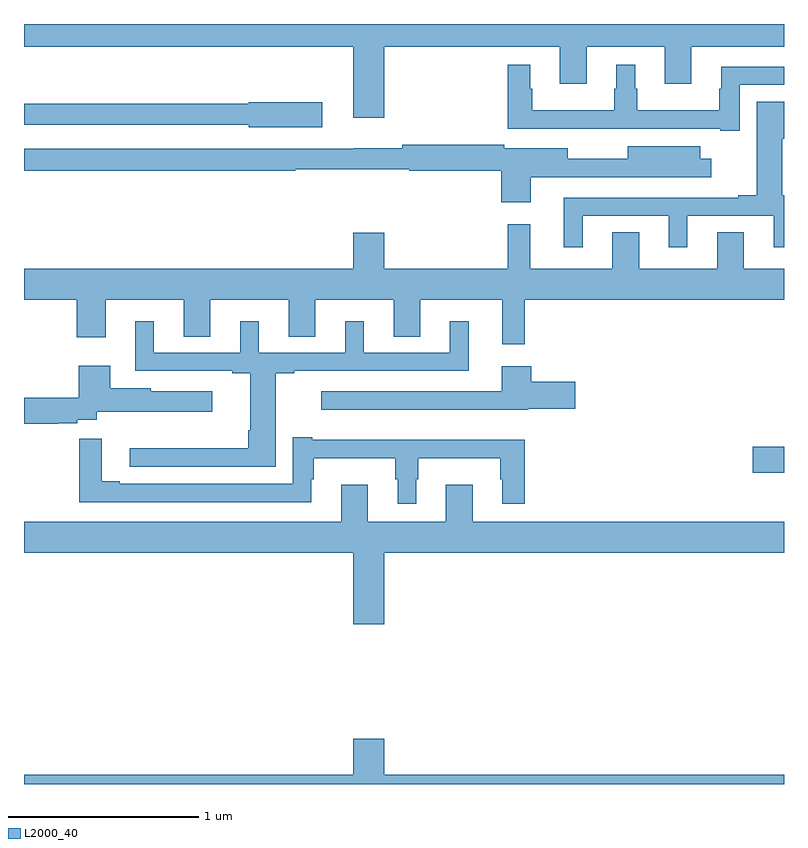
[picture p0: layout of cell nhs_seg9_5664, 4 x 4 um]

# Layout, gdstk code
import gdstk
lib = gdstk.Library(unit=1e-6, precision=1e-09)
def R(c, l, rs):  # rectangles x0, y0, x1, y1
    for r in rs: c.add(gdstk.rectangle(r[:2], r[2:], *l))
def P(c, l, *ps):  # polygons
    for p in ps: c.add(gdstk.Polygon(p, *l))
L2000_40 = (2000, 40)

nhs_seg9_5664 = lib.new_cell('nhs_seg9_5664')
R(nhs_seg9_5664, L2000_40, [(442.836,1234.139,443,1234.274)])
P(nhs_seg9_5664, L2000_40, [(439,1236.38),(440.732,1236.38),(440.732,1236.006),(440.896,1236.006),(440.896,1236.38),(441.821,1236.38),(441.821,1236.186),(441.961,1236.186),(441.961,1236.38),(442.373,1236.38),(442.373,1236.186),(442.513,1236.186),(442.513,1236.38),(443,1236.38),(443,1236.5),(439,1236.5)],
  [(442.767,1236.18),(443,1236.18),(443,1236.276),(442.67,1236.276),(442.67,1236.158),(442.659,1236.158),(442.659,1236.046),(442.228,1236.046),(442.228,1236.158),(442.216,1236.158),(442.216,1236.286),(442.118,1236.286),(442.118,1236.158),(442.107,1236.158),(442.107,1236.046),(441.676,1236.046),(441.676,1236.158),(441.664,1236.158),(441.664,1236.286),(441.547,1236.286),(441.547,1235.949),(442.664,1235.949),(442.664,1235.937),(442.767,1235.937)],
  [(441.94,1235.49),(442.394,1235.49),(442.394,1235.325),(442.492,1235.325),(442.492,1235.49),(442.946,1235.49),(442.946,1235.325),(443,1235.325),(443,1235.599),(442.99,1235.599),(442.99,1235.897),(443,1235.897),(443,1236.09),(442.856,1236.09),(442.856,1235.599),(442.76,1235.599),(442.76,1235.586),(441.842,1235.586),(441.842,1235.325),(441.94,1235.325)],
  [(440.569,1236.087),(440.184,1236.087),(440.184,1236.079),(439,1236.079),(439,1235.97),(440.184,1235.97),(440.184,1235.957),(440.569,1235.957)],
  [(441.667,1235.694),(442.282,1235.694),(442.282,1235.693),(442.618,1235.693),(442.618,1235.791),(442.558,1235.791),(442.558,1235.857),(442.178,1235.857),(442.178,1235.791),(441.862,1235.791),(441.862,1235.845),(441.528,1235.845),(441.528,1235.864),(440.992,1235.864),(440.992,1235.845),(440.736,1235.845),(440.736,1235.844),(439,1235.844),(439,1235.728),(440.428,1235.728),(440.428,1235.736),(441.028,1235.736),(441.028,1235.728),(441.512,1235.728),(441.512,1235.562),(441.667,1235.562)],
  [(441.547,1235.212),(440.896,1235.212),(440.896,1235.401),(440.732,1235.401),(440.732,1235.212),(439,1235.212),(439,1235.048),(439.277,1235.048),(439.277,1234.851),(439.429,1234.851),(439.429,1235.048),(439.841,1235.048),(439.841,1234.855),(439.981,1234.855),(439.981,1235.048),(440.393,1235.048),(440.393,1234.855),(440.533,1234.855),(440.533,1235.048),(440.945,1235.048),(440.945,1234.855),(441.085,1234.855),(441.085,1235.048),(441.518,1235.048),(441.518,1234.815),(441.635,1234.815),(441.635,1235.048),(443,1235.048),(443,1235.212),(442.789,1235.212),(442.789,1235.405),(442.649,1235.405),(442.649,1235.212),(442.237,1235.212),(442.237,1235.405),(442.097,1235.405),(442.097,1235.212),(441.665,1235.212),(441.665,1235.446),(441.547,1235.446)],
  [(440.326,1234.662),(440.422,1234.662),(440.422,1234.674),(441.341,1234.674),(441.341,1234.936),(441.242,1234.936),(441.242,1234.77),(440.788,1234.77),(440.788,1234.936),(440.69,1234.936),(440.69,1234.77),(440.236,1234.77),(440.236,1234.936),(440.138,1234.936),(440.138,1234.77),(439.684,1234.77),(439.684,1234.936),(439.586,1234.936),(439.586,1234.674),(440.096,1234.674),(440.096,1234.662),(440.192,1234.662),(440.192,1234.363),(440.18,1234.363),(440.18,1234.268),(439.557,1234.268),(439.557,1234.17),(440.326,1234.17)],
  [(439.18,1234.398),(439.28,1234.398),(439.28,1234.416),(439.383,1234.416),(439.383,1234.46),(439.99,1234.46),(439.99,1234.567),(439.668,1234.567),(439.668,1234.582),(439.453,1234.582),(439.453,1234.702),(439.287,1234.702),(439.287,1234.532),(439,1234.532),(439,1234.396),(439.18,1234.396)],
  [(441.654,1234.475),(441.901,1234.475),(441.901,1234.617),(441.671,1234.617),(441.671,1234.699),(441.515,1234.699),(441.515,1234.566),(440.565,1234.566),(440.565,1234.469),(441.654,1234.469)],
  [(441.064,1234.103),(441.076,1234.103),(441.076,1234.214),(441.507,1234.214),(441.507,1234.103),(441.518,1234.103),(441.518,1233.975),(441.635,1233.975),(441.635,1234.312),(440.518,1234.312),(440.518,1234.324),(440.415,1234.324),(440.415,1234.08),(439.504,1234.08),(439.504,1234.093),(439.408,1234.093),(439.408,1234.318),(439.292,1234.318),(439.292,1234.205),(439.291,1234.205),(439.291,1233.984),(440.512,1233.984),(440.512,1234.103),(440.524,1234.103),(440.524,1234.214),(440.955,1234.214),(440.955,1234.103),(440.966,1234.103),(440.966,1233.975),(441.064,1233.975)],
  [(440.896,1233.716),(443,1233.716),(443,1233.88),(441.361,1233.88),(441.361,1234.075),(441.221,1234.075),(441.221,1233.88),(440.809,1233.88),(440.809,1234.075),(440.669,1234.075),(440.669,1233.88),(439,1233.88),(439,1233.716),(440.732,1233.716),(440.732,1233.342),(440.896,1233.342)],
  [(443,1232.548),(440.896,1232.548),(440.896,1232.737),(440.732,1232.737),(440.732,1232.548),(439,1232.548),(439,1232.5),(443,1232.5)])

lib.write_gds('nhs_seg9_5664.gds')
